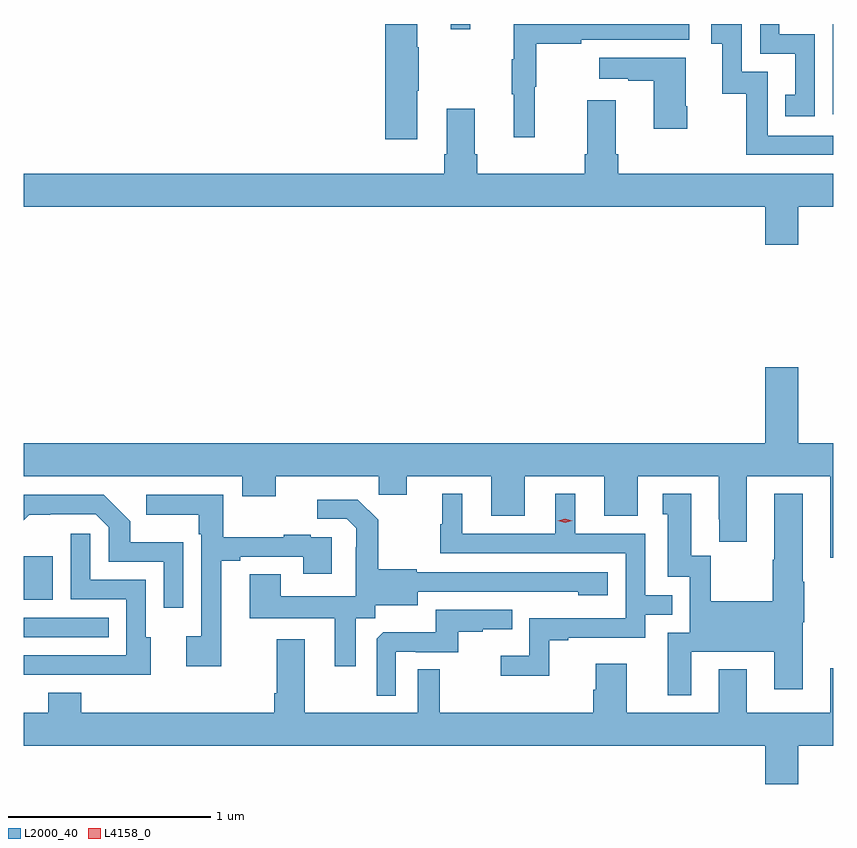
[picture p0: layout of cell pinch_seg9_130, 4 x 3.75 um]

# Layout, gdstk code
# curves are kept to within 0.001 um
import gdstk
lib = gdstk.Library(unit=1e-6, precision=1e-09)
def R(c, l, rs):  # rectangles x0, y0, x1, y1
    for r in rs: c.add(gdstk.rectangle(r[:2], r[2:], *l))
def P(c, l, *ps):  # polygons
    for p in ps: c.add(gdstk.Polygon(p, *l))
L2000_40 = (2000, 40)
L4158_0 = (4158, 0)

pinch_seg9_130 = lib.new_cell('pinch_seg9_130')
R(pinch_seg9_130, L2000_40, [(784.72,1227.594,785.141,1227.69), (784.72,1227.779,784.864,1227.994), (788.718,1230.177,788.72,1230.623), (786.83,1230.597,786.927,1230.623)])
P(pinch_seg9_130, L2000_40, [(787.244,1230.312),(787.252,1230.312),(787.252,1230.526),(787.475,1230.526),(787.475,1230.546),(788.008,1230.546),(788.008,1230.623),(787.142,1230.623),(787.142,1230.449),(787.131,1230.449),(787.131,1230.275),(787.142,1230.275),(787.142,1230.063),(787.244,1230.063)],
  [(788.628,1230.573),(788.454,1230.573),(788.454,1230.623),(788.358,1230.623),(788.358,1230.477),(788.531,1230.477),(788.531,1230.273),(788.482,1230.273),(788.482,1230.168),(788.628,1230.168)],
  [(788.72,1230.072),(788.397,1230.072),(788.397,1230.387),(788.268,1230.387),(788.268,1230.623),(788.118,1230.623),(788.118,1230.525),(788.171,1230.525),(788.171,1230.279),(788.289,1230.279),(788.289,1229.976),(788.72,1229.976)],
  [(786.664,1230.292),(786.672,1230.292),(786.672,1230.509),(786.664,1230.509),(786.664,1230.623),(786.506,1230.623),(786.506,1230.054),(786.664,1230.054)],
  [(787.998,1230.217),(787.99,1230.217),(787.99,1230.457),(787.563,1230.457),(787.563,1230.353),(787.706,1230.353),(787.706,1230.343),(787.832,1230.343),(787.832,1230.105),(787.998,1230.105)],
  [(788.548,1229.72),(788.72,1229.72),(788.72,1229.884),(787.658,1229.884),(787.658,1229.98),(787.645,1229.98),(787.645,1230.247),(787.505,1230.247),(787.505,1229.98),(787.493,1229.98),(787.493,1229.884),(786.962,1229.884),(786.962,1229.98),(786.949,1229.98),(786.949,1230.205),(786.809,1230.205),(786.809,1229.98),(786.797,1229.98),(786.797,1229.884),(784.72,1229.884),(784.72,1229.72),(788.384,1229.72),(788.384,1229.532),(788.548,1229.532)],
  [(788.72,1228.552),(788.548,1228.552),(788.548,1228.927),(788.384,1228.927),(788.384,1228.552),(784.72,1228.552),(784.72,1228.388),(785.801,1228.388),(785.801,1228.289),(785.965,1228.289),(785.965,1228.388),(786.475,1228.388),(786.475,1228.298),(786.613,1228.298),(786.613,1228.388),(787.031,1228.388),(787.031,1228.194),(787.195,1228.194),(787.195,1228.388),(787.589,1228.388),(787.589,1228.194),(787.753,1228.194),(787.753,1228.388),(788.153,1228.388),(788.153,1228.177),(788.156,1228.177),(788.156,1228.065),(788.293,1228.065),(788.293,1228.388),(788.705,1228.388),(788.705,1227.987),(788.72,1227.987)],
  [(788.017,1227.521),(788.429,1227.521),(788.429,1227.336),(788.569,1227.336),(788.569,1227.668),(788.577,1227.668),(788.577,1227.868),(788.569,1227.868),(788.569,1228.303),(788.429,1228.303),(788.429,1227.977),(788.422,1227.977),(788.422,1227.772),(788.115,1227.772),(788.115,1227.995),(788.017,1227.995),(788.017,1228.303),(787.877,1228.303),(787.877,1228.2),(787.901,1228.2),(787.901,1227.891),(788.01,1227.891),(788.01,1227.615),(787.901,1227.615),(787.901,1227.306),(788.017,1227.306)],
  [(787.317,1227.579),(787.411,1227.579),(787.411,1227.591),(787.791,1227.591),(787.791,1227.705),(787.925,1227.705),(787.925,1227.801),(787.791,1227.801),(787.791,1228.104),(787.444,1228.104),(787.444,1228.303),(787.346,1228.303),(787.346,1228.104),(786.886,1228.104),(786.886,1228.303),(786.788,1228.303),(786.788,1228.152),(786.777,1228.152),(786.777,1228.008),(787.695,1228.008),(787.695,1227.687),(787.218,1227.687),(787.218,1227.502),(787.077,1227.502),(787.077,1227.404),(787.317,1227.404)],
  [(785.508,1228.063),(785.247,1228.063),(785.247,1228.166),(785.116,1228.296),(784.72,1228.296),(784.72,1228.171),(784.748,1228.199),(785.076,1228.2),(785.139,1228.137),(785.139,1227.966),(785.412,1227.966),(785.412,1227.738),(785.508,1227.738)],
  [(785.695,1227.972),(785.791,1227.972),(785.791,1227.99),(786.101,1227.99),(786.101,1227.906),(786.241,1227.906),(786.241,1228.086),(786.137,1228.086),(786.137,1228.099),(786.005,1228.099),(786.005,1228.088),(785.707,1228.088),(785.707,1228.296),(785.325,1228.296),(785.325,1228.199),(785.586,1228.199),(785.586,1228.103),(785.598,1228.103),(785.598,1227.598),(785.523,1227.598),(785.523,1227.45),(785.695,1227.45)],
  [(786.361,1227.688),(786.456,1227.688),(786.456,1227.752),(786.667,1227.752),(786.667,1227.819),(787.461,1227.818),(787.461,1227.8),(787.606,1227.8),(787.606,1227.915),(786.663,1227.915),(786.663,1227.928),(786.471,1227.928),(786.471,1228.173),(786.371,1228.273),(786.171,1228.273),(786.171,1228.179),(786.315,1228.179),(786.362,1228.132),(786.362,1228.037),(786.36,1228.037),(786.36,1227.796),(785.989,1227.796),(785.989,1227.905),(785.837,1227.905),(785.837,1227.686),(786.257,1227.686),(786.257,1227.45),(786.361,1227.45)],
  [(785.347,1227.594),(785.322,1227.594),(785.322,1227.876),(785.049,1227.876),(785.049,1228.105),(784.953,1228.105),(784.953,1227.78),(785.226,1227.78),(785.226,1227.504),(784.72,1227.504),(784.72,1227.408),(785.129,1227.408),(785.129,1227.407),(785.347,1227.407)],
  [(786.558,1227.522),(786.658,1227.522),(786.658,1227.519),(786.866,1227.519),(786.866,1227.621),(786.989,1227.621),(786.989,1227.632),(787.133,1227.632),(787.133,1227.729),(786.756,1227.729),(786.756,1227.617),(786.497,1227.617),(786.465,1227.585),(786.465,1227.305),(786.558,1227.305)],
  [(788.548,1227.056),(788.72,1227.056),(788.72,1227.439),(788.705,1227.439),(788.705,1227.22),(788.293,1227.22),(788.293,1227.436),(788.153,1227.436),(788.153,1227.22),(787.699,1227.22),(787.699,1227.463),(787.547,1227.463),(787.547,1227.333),(787.535,1227.333),(787.535,1227.22),(786.775,1227.22),(786.775,1227.434),(786.666,1227.434),(786.666,1227.22),(786.109,1227.22),(786.109,1227.583),(785.969,1227.583),(785.969,1227.316),(785.957,1227.316),(785.957,1227.22),(785.005,1227.22),(785.005,1227.319),(784.841,1227.319),(784.841,1227.22),(784.72,1227.22),(784.72,1227.056),(788.384,1227.056),(788.384,1226.868),(788.548,1226.868)])
P(pinch_seg9_130, L4158_0, [(787.395,1228.158),(787.359,1228.168),(787.359,1228.168),(787.359,1228.169),(787.395,1228.178),(787.431,1228.169),(787.431,1228.168),(787.431,1228.168)])

lib.write_gds('pinch_seg9_130.gds')
